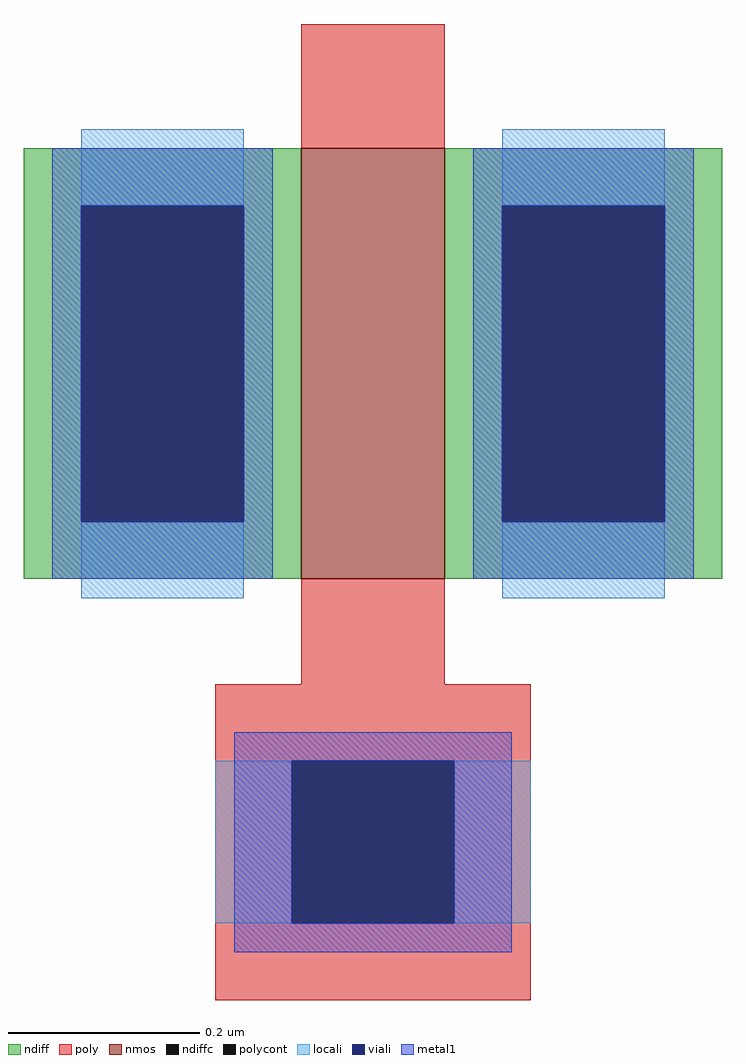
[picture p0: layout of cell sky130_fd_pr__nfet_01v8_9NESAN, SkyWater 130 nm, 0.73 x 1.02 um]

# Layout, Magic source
magic
tech sky130A
magscale 1 2
<< nmos >>
rect -15 -14 15 76
<< ndiff >>
rect -73 64 -15 76
rect -73 -2 -61 64
rect -27 -2 -15 64
rect -73 -14 -15 -2
rect 15 64 73 76
rect 15 -2 27 64
rect 61 -2 73 64
rect 15 -14 73 -2
<< ndiffc >>
rect -61 -2 -27 64
rect 27 -2 61 64
<< poly >>
rect -15 76 15 102
rect -15 -36 15 -14
rect -33 -52 33 -36
rect -33 -86 -17 -52
rect 17 -86 33 -52
rect -33 -102 33 -86
<< polycont >>
rect -17 -86 17 -52
<< locali >>
rect -61 64 -27 80
rect -61 -18 -27 -2
rect 27 64 61 80
rect 27 -18 61 -2
rect -33 -86 -17 -52
rect 17 -86 33 -52
<< viali >>
rect -61 -2 -27 64
rect 27 -2 61 64
rect -17 -86 17 -52
<< metal1 >>
rect -67 64 -21 76
rect -67 -2 -61 64
rect -27 -2 -21 64
rect -67 -14 -21 -2
rect 21 64 67 76
rect 21 -2 27 64
rect 61 -2 67 64
rect 21 -14 67 -2
rect -29 -52 29 -46
rect -29 -86 -17 -52
rect 17 -86 29 -52
rect -29 -92 29 -86
<< properties >>
string gencell sky130_fd_pr__nfet_01v8
string library sky130
string parameters w 0.45 l 0.15 m 1 nf 1 diffcov 100 polycov 100 guard 0 glc 1 grc 1 gtc 1 gbc 1 tbcov 100 rlcov 100 topc 0 botc 1 poverlap 0 doverlap 1 lmin 0.15 wmin 0.42 compatible {sky130_fd_pr__nfet_01v8 sky130_fd_pr__nfet_01v8_lvt  sky130_fd_bs_flash__special_sonosfet_star  sky130_fd_pr__nfet_g5v0d10v5 sky130_fd_pr__nfet_05v0_nvt  sky130_fd_pr__nfet_03v3_nvt} full_metal 1 viasrc 100 viadrn 100 viagate 100 viagb 0 viagr 0 viagl 0 viagt 0
<< end >>
